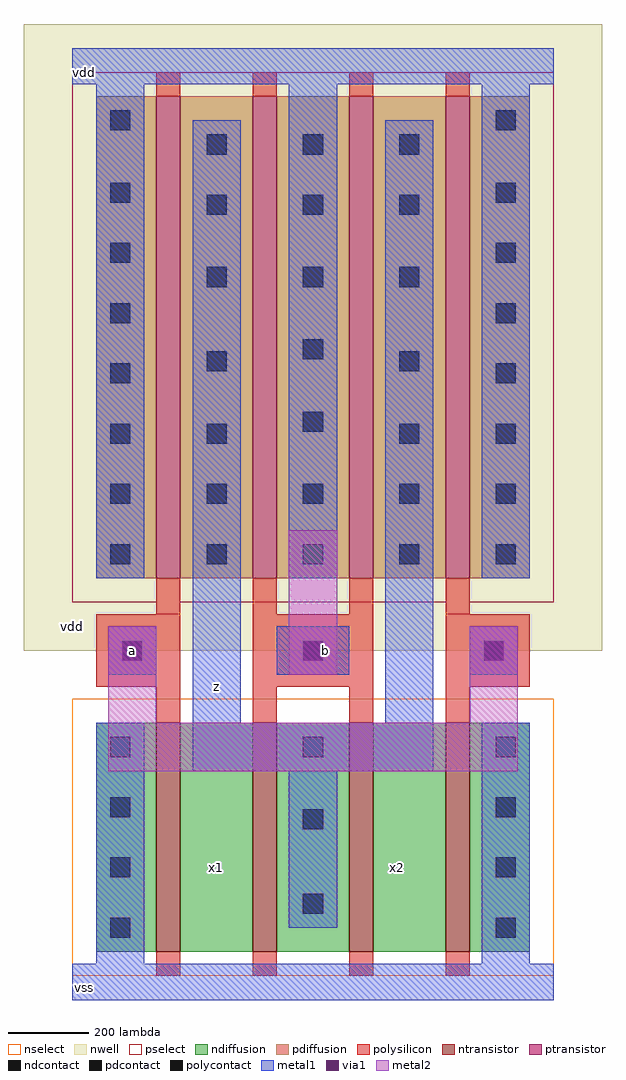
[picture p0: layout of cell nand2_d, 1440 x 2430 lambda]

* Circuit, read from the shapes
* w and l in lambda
.subckt nand2_d z a b vdd vss
M1 x1 a vss VSUBS nfet w=570 l=60
M2 z b x1 VSUBS nfet w=570 l=60
M3 x2 b z VSUBS nfet w=570 l=60
M4 vss a x2 VSUBS nfet w=570 l=60
M5 z a vdd vdd pfet w=1200 l=60 m=2
M6 vdd b z vdd pfet w=1200 l=60 m=2
.ends

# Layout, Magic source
magic
tech amic5n
<< nwell >>
rect -120 870 1320 2430
<< nselect >>
rect 0 60 1200 750
<< pselect >>
rect 0 990 1200 2310
rect 210 960 270 990
rect 930 960 990 990
<< ntransistor >>
rect 210 120 270 690
rect 450 120 510 690
rect 690 120 750 690
rect 930 120 990 690
<< ptransistor >>
rect 210 1050 270 2250
rect 450 1050 510 2250
rect 690 1050 750 2250
rect 930 1050 990 2250
<< ndiffusion >>
rect 60 120 210 690
rect 270 120 450 690
rect 510 120 690 690
rect 750 120 930 690
rect 990 120 1140 690
<< pdiffusion >>
rect 60 1050 210 2250
rect 270 1050 450 2250
rect 510 1050 690 2250
rect 750 1050 930 2250
rect 990 1050 1140 2250
<< polysilicon >>
rect 210 2250 270 2310
rect 450 2250 510 2310
rect 690 2250 750 2310
rect 930 2250 990 2310
rect 210 960 270 1050
rect 60 780 270 960
rect 210 690 270 780
rect 450 960 510 1050
rect 690 960 750 1050
rect 450 780 750 960
rect 450 690 510 780
rect 690 690 750 780
rect 930 960 990 1050
rect 930 780 1140 960
rect 930 690 990 780
rect 210 60 270 120
rect 450 60 510 120
rect 690 60 750 120
rect 930 60 990 120
<< pdcontact >>
rect 95 2165 145 2215
<< pdcontact >>
rect 1055 2165 1105 2215
<< pdcontact >>
rect 335 2105 385 2155
<< pdcontact >>
rect 575 2105 625 2155
<< pdcontact >>
rect 815 2105 865 2155
<< pdcontact >>
rect 95 1985 145 2035
<< pdcontact >>
rect 335 1955 385 2005
<< pdcontact >>
rect 575 1955 625 2005
<< pdcontact >>
rect 815 1955 865 2005
<< pdcontact >>
rect 1055 1985 1105 2035
<< pdcontact >>
rect 95 1835 145 1885
<< pdcontact >>
rect 1055 1835 1105 1885
<< pdcontact >>
rect 335 1775 385 1825
<< pdcontact >>
rect 575 1775 625 1825
<< pdcontact >>
rect 815 1775 865 1825
<< pdcontact >>
rect 95 1685 145 1735
<< pdcontact >>
rect 1055 1685 1105 1735
<< pdcontact >>
rect 95 1535 145 1585
<< pdcontact >>
rect 335 1565 385 1615
<< pdcontact >>
rect 575 1595 625 1645
<< pdcontact >>
rect 815 1565 865 1615
<< pdcontact >>
rect 1055 1535 1105 1585
<< pdcontact >>
rect 95 1385 145 1435
<< pdcontact >>
rect 335 1385 385 1435
<< pdcontact >>
rect 575 1415 625 1465
<< pdcontact >>
rect 815 1385 865 1435
<< pdcontact >>
rect 1055 1385 1105 1435
<< pdcontact >>
rect 95 1235 145 1285
<< pdcontact >>
rect 335 1235 385 1285
<< pdcontact >>
rect 575 1235 625 1285
<< pdcontact >>
rect 815 1235 865 1285
<< pdcontact >>
rect 1055 1235 1105 1285
<< pdcontact >>
rect 95 1085 145 1135
<< pdcontact >>
rect 335 1085 385 1135
<< pdcontact >>
rect 575 1085 625 1135
<< pdcontact >>
rect 815 1085 865 1135
<< pdcontact >>
rect 1055 1085 1105 1135
<< polycontact >>
rect 125 845 175 895
<< polycontact >>
rect 575 845 625 895
<< polycontact >>
rect 1025 845 1075 895
<< ndcontact >>
rect 95 605 145 655
<< ndcontact >>
rect 575 605 625 655
<< ndcontact >>
rect 1055 605 1105 655
<< ndcontact >>
rect 95 455 145 505
<< ndcontact >>
rect 575 425 625 475
<< ndcontact >>
rect 1055 455 1105 505
<< ndcontact >>
rect 95 305 145 355
<< ndcontact >>
rect 1055 305 1105 355
<< ndcontact >>
rect 575 215 625 265
<< ndcontact >>
rect 95 155 145 205
<< ndcontact >>
rect 1055 155 1105 205
<< metal1 >>
rect 0 2280 1200 2370
rect 60 1050 180 2280
rect 90 810 210 930
rect 300 690 420 2190
rect 540 1050 660 2280
rect 510 810 690 930
rect 780 690 900 2190
rect 1020 1050 1140 2280
rect 990 810 1110 930
rect 60 90 180 690
rect 300 570 900 690
rect 540 180 660 570
rect 1020 90 1140 690
rect 0 0 1200 90
<< metal2 >>
rect 90 690 210 930
rect 540 810 660 1170
rect 990 690 1110 930
rect 90 570 1110 690
<< via1 >>
rect 125 845 175 895
rect 575 845 625 895
rect 1025 845 1075 895
<< labels >>
flabel nwell  0 930 0 930 2 FreeSans 400 0 0 0 vdd
flabel metal1 s 30 30 30 30 2 FreeSans 400 0 0 0 vss
port 5 ne
flabel metal1 s 30 2310 30 2310 2 FreeSans 400 0 0 0 vdd
port 4 ne
flabel metal1 s 630 870 630 870 8 FreeSans 400 0 0 0 b
port 3 ne
flabel metal1 s 150 870 150 870 2 FreeSans 400 0 0 0 a
port 2 ne
flabel metal1 s 360 780 360 780 2 FreeSans 400 0 0 0 z
port 1 ne
flabel ndiffusion s 360 330 360 330 2 FreeSans 400 0 0 0 x1
flabel ndiffusion s 810 330 810 330 2 FreeSans 400 0 0 0 x2
<< end >>
